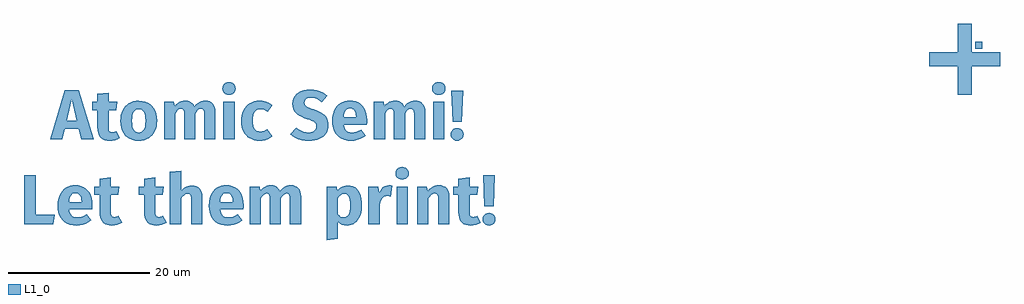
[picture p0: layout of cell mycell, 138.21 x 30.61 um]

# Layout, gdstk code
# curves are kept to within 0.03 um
import gdstk
lib = gdstk.Library(unit=1e-6, precision=1e-09)
def R(c, l, rs):  # rectangles x0, y0, x1, y1
    for r in rs: c.add(gdstk.rectangle(r[:2], r[2:], *l))
def P(c, l, *ps):  # polygons
    for p in ps: c.add(gdstk.Polygon(p, *l))
L1_0 = (1, 0)

mycell = lib.new_cell('mycell')
R(mycell, L1_0, [(19.56,-21.35,21.14,-16.05), (-4.96,-9.35,-3.38,-4.05), (24.74,-9.35,26.32,-4.05), (99,-3,101,7), (95,1,105,3), (101.5,3.5,102.5,4.5)])
P(mycell, L1_0, [(31.799,-14.45),(31.999,-18.85),(33.281,-18.85),(33.481,-14.45)],
  [(31.74,-20.645),(31.769,-20.885),(31.857,-21.099),(32.004,-21.288),(32.193,-21.433),(32.405,-21.521),(32.64,-21.55),(32.88,-21.521),(33.095,-21.433),(33.284,-21.288),(33.431,-21.099),(33.52,-20.885),(33.549,-20.645),(33.52,-20.411),(33.431,-20.201),(33.284,-20.014),(33.095,-19.867),(32.88,-19.779),(32.64,-19.75),(32.405,-19.779),(32.193,-19.867),(32.004,-20.014),(31.857,-20.201),(31.769,-20.411)],
  [(27.56,-17.213),(28.31,-17.213),(28.332,-20.052),(28.504,-20.708),(28.654,-20.965),(28.847,-21.176),(29.083,-21.339),(29.362,-21.456),(30.049,-21.55),(30.815,-21.444),(31.49,-21.145),(30.96,-20.173),(30.768,-20.272),(30.39,-20.35),(30.106,-20.279),(29.943,-20.06),(29.89,-19.658),(29.89,-17.213),(30.94,-17.213),(31.11,-16.05),(29.89,-16.05),(29.89,-14.714),(28.31,-14.895),(28.31,-16.05),(27.56,-16.05)],
  [(27.279,-2.45),(27.479,-6.85),(28.761,-6.85),(28.961,-2.45)],
  [(27.22,-8.645),(27.249,-8.885),(27.337,-9.099),(27.484,-9.288),(27.673,-9.433),(27.885,-9.521),(28.12,-9.55),(28.36,-9.521),(28.575,-9.433),(28.764,-9.288),(28.911,-9.099),(29,-8.885),(29.029,-8.645),(29,-8.411),(28.911,-8.201),(28.764,-8.014),(28.575,-7.867),(28.36,-7.779),(28.12,-7.75),(27.885,-7.779),(27.673,-7.867),(27.484,-8.014),(27.337,-8.201),(27.249,-8.411)],
  [(24.59,-2.15),(24.619,-2.395),(24.706,-2.61),(24.85,-2.795),(25.04,-2.937),(25.264,-3.022),(25.52,-3.05),(25.778,-3.022),(26.003,-2.937),(26.195,-2.795),(26.343,-2.61),(26.431,-2.395),(26.461,-2.15),(26.431,-1.905),(26.343,-1.69),(26.195,-1.505),(26.003,-1.363),(25.778,-1.278),(25.52,-1.25),(25.264,-1.278),(25.04,-1.363),(24.85,-1.505),(24.706,-1.69),(24.619,-1.905)],
  [(22.46,-21.35),(24.04,-21.35),(24.04,-17.708),(24.399,-17.263),(24.77,-17.04),(24.96,-17.013),(25.113,-17.03),(25.335,-17.169),(25.446,-17.485),(25.46,-21.35),(27.04,-21.35),(27.016,-17.096),(26.82,-16.504),(26.649,-16.272),(26.436,-16.087),(26.185,-15.955),(25.896,-15.876),(25.57,-15.85),(24.968,-15.94),(24.436,-16.211),(23.949,-16.663),(23.84,-16.05),(22.46,-16.05)],
  [(19.41,-14.15),(19.439,-14.395),(19.526,-14.61),(19.67,-14.795),(19.86,-14.937),(20.084,-15.022),(20.34,-15.05),(20.598,-15.022),(20.823,-14.937),(21.015,-14.795),(21.163,-14.61),(21.251,-14.395),(21.281,-14.15),(21.251,-13.905),(21.163,-13.69),(21.015,-13.505),(20.823,-13.363),(20.598,-13.278),(20.34,-13.25),(20.084,-13.278),(19.86,-13.363),(19.67,-13.505),(19.526,-13.69),(19.439,-13.905)],
  [(16.34,-9.35),(17.92,-9.35),(17.92,-5.708),(18.295,-5.189),(18.575,-5.032),(18.729,-5.013),(18.891,-5.041),(19.017,-5.127),(19.161,-5.469),(19.179,-9.35),(20.761,-9.35),(20.761,-5.708),(21.129,-5.184),(21.263,-5.089),(21.57,-5.013),(21.732,-5.041),(21.858,-5.127),(22.002,-5.469),(22.02,-9.35),(23.6,-9.35),(23.6,-5.456),(23.505,-4.785),(23.386,-4.51),(23.015,-4.09),(22.778,-3.957),(22.211,-3.85),(21.595,-3.944),(21.325,-4.063),(21.076,-4.228),(20.62,-4.702),(20.495,-4.451),(20.136,-4.073),(19.651,-3.875),(19.062,-3.872),(18.515,-4.048),(18.272,-4.203),(17.829,-4.652),(17.72,-4.05),(16.34,-4.05)],
  [(15.56,-21.35),(17.14,-21.35),(17.14,-18.691),(17.246,-18.281),(17.531,-17.686),(17.833,-17.434),(18.24,-17.35),(18.72,-17.477),(18.97,-15.942),(18.44,-15.85),(18.144,-15.884),(17.869,-15.987),(17.615,-16.158),(17.392,-16.389),(17.21,-16.672),(17.07,-17.009),(16.94,-16.05),(15.56,-16.05)],
  [(10.44,-6.725),(10.551,-7.675),(10.688,-8.087),(10.881,-8.457),(11.129,-8.784),(11.43,-9.06),(11.778,-9.274),(12.174,-9.428),(12.618,-9.519),(13.111,-9.55),(13.558,-9.52),(13.988,-9.432),(14.402,-9.283),(14.799,-9.076),(15.179,-8.809),(14.529,-7.953),(13.879,-8.281),(13.575,-8.361),(12.932,-8.359),(12.655,-8.275),(12.429,-8.134),(12.187,-7.786),(12.109,-7.541),(12.061,-7.25),(12.05,-6.25),(12.15,-5.647),(12.329,-5.248),(12.497,-5.083),(12.708,-4.983),(12.961,-4.95),(13.373,-5.05),(13.652,-5.352),(13.797,-5.853),(13.82,-6.25),(12.05,-6.25),(12.061,-7.25),(15.34,-7.25),(15.344,-6.155),(15.266,-5.695),(15.136,-5.282),(14.954,-4.914),(14.72,-4.594),(14.44,-4.326),(14.12,-4.118),(13.76,-3.969),(13.36,-3.88),(12.92,-3.85),(12.195,-3.945),(11.579,-4.228),(11.087,-4.675),(10.729,-5.258),(10.569,-5.71),(10.472,-6.199)],
  [(9.66,-23.609),(11.24,-23.438),(11.24,-20.991),(11.505,-21.235),(11.808,-21.41),(12.15,-21.515),(12.84,-21.527),(13.13,-21.459),(13.649,-21.184),(13.876,-20.984),(14.244,-20.478),(14.527,-19.721),(14.612,-19.232),(14.64,-18.703),(14.561,-17.726),(14.462,-17.311),(14.145,-16.625),(13.926,-16.36),(13.665,-16.153),(13.362,-16.006),(13.017,-15.917),(12.364,-15.908),(11.835,-16.073),(11.581,-16.219),(11.131,-16.648),(11.645,-17.227),(11.966,-17.07),(12.336,-17.073),(12.663,-17.256),(12.878,-17.634),(12.986,-18.288),(12.999,-18.723),(12.922,-19.538),(12.825,-19.844),(12.689,-20.082),(12.515,-20.252),(12.301,-20.354),(12.049,-20.388),(11.815,-20.359),(11.603,-20.272),(11.24,-19.925),(11.24,-17.711),(11.426,-17.435),(11.645,-17.227),(11.131,-16.648),(11.049,-16.058),(9.66,-16.058)],
  [(4.511,-8.622),(5.218,-9.109),(5.634,-9.297),(6.093,-9.438),(6.595,-9.522),(7.14,-9.55),(7.551,-9.533),(8.285,-9.394),(8.901,-9.121),(9.376,-8.735),(9.704,-8.242),(9.87,-7.666),(9.87,-7),(9.81,-6.684),(9.57,-6.153),(9.105,-5.698),(8.75,-5.479),(6.823,-4.698),(6.6,-4.511),(6.518,-4.343),(6.49,-4.133),(6.518,-3.929),(6.601,-3.761),(6.74,-3.627),(6.927,-3.528),(7.42,-3.45),(8.052,-3.554),(8.652,-3.867),(8.94,-4.102),(9.7,-3.153),(9.375,-2.886),(8.654,-2.502),(7.797,-2.311),(7.3,-2.288),(6.836,-2.315),(6.406,-2.397),(6.009,-2.534),(5.657,-2.723),(5.361,-2.958),(5.12,-3.241),(4.942,-3.562),(4.835,-3.917),(4.8,-4.305),(4.83,-4.681),(4.921,-5.023),(5.072,-5.331),(5.284,-5.605),(5.779,-5.99),(6.487,-6.324),(7.493,-6.678),(7.862,-6.873),(8.079,-7.092),(8.163,-7.29),(8.157,-7.78),(8.059,-7.99),(7.895,-8.161),(7.674,-8.287),(7.09,-8.388),(6.765,-8.369),(6.165,-8.217),(5.885,-8.085),(5.34,-7.705)],
  [(-1.24,-21.35),(0.34,-21.35),(0.34,-17.708),(0.715,-17.189),(0.995,-17.032),(1.149,-17.013),(1.311,-17.041),(1.437,-17.127),(1.581,-17.469),(1.599,-21.35),(3.181,-21.35),(3.181,-17.708),(3.549,-17.184),(3.683,-17.089),(3.99,-17.013),(4.152,-17.041),(4.278,-17.127),(4.422,-17.469),(4.44,-21.35),(6.02,-21.35),(6.02,-17.456),(5.925,-16.785),(5.806,-16.51),(5.435,-16.09),(5.198,-15.957),(4.631,-15.85),(4.015,-15.944),(3.745,-16.063),(3.496,-16.228),(3.04,-16.702),(2.915,-16.451),(2.556,-16.073),(2.071,-15.875),(1.482,-15.872),(0.935,-16.048),(0.692,-16.203),(0.249,-16.652),(0.14,-16.05),(-1.24,-16.05)],
  [(-2.46,-6.764),(-2.38,-7.552),(-2.141,-8.233),(-1.753,-8.788),(-1.23,-9.205),(-0.585,-9.464),(0.17,-9.55),(0.562,-9.524),(1.295,-9.316),(1.961,-8.9),(1.27,-7.894),(0.74,-8.166),(0.507,-8.229),(0.01,-8.228),(-0.38,-8.053),(-0.648,-7.693),(-0.733,-7.425),(-0.783,-7.096),(-0.783,-6.299),(-0.648,-5.668),(-0.53,-5.442),(-0.195,-5.148),(0.27,-5.05),(0.524,-5.076),(1.029,-5.287),(1.279,-5.472),(1.961,-4.516),(1.695,-4.321),(1.129,-4.042),(0.495,-3.905),(-0.238,-3.91),(-0.923,-4.093),(-1.508,-4.454),(-1.964,-4.962),(-2.141,-5.27),(-2.38,-5.97)],
  [(-5.11,-2.15),(-5.081,-2.395),(-4.994,-2.61),(-4.85,-2.795),(-4.66,-2.937),(-4.436,-3.022),(-4.18,-3.05),(-3.922,-3.022),(-3.697,-2.937),(-3.505,-2.795),(-3.357,-2.61),(-3.269,-2.395),(-3.239,-2.15),(-3.269,-1.905),(-3.357,-1.69),(-3.505,-1.505),(-3.697,-1.363),(-3.922,-1.278),(-4.18,-1.25),(-4.436,-1.278),(-4.66,-1.363),(-4.85,-1.505),(-4.994,-1.69),(-5.081,-1.905)],
  [(-7.04,-18.725),(-6.929,-19.675),(-6.792,-20.087),(-6.599,-20.457),(-6.351,-20.784),(-6.05,-21.06),(-5.702,-21.274),(-5.306,-21.428),(-4.862,-21.519),(-4.369,-21.55),(-3.922,-21.52),(-3.492,-21.432),(-3.078,-21.283),(-2.681,-21.076),(-2.301,-20.809),(-2.951,-19.953),(-3.601,-20.281),(-3.905,-20.361),(-4.548,-20.359),(-4.825,-20.275),(-5.051,-20.134),(-5.293,-19.786),(-5.371,-19.541),(-5.419,-19.25),(-5.43,-18.25),(-5.33,-17.647),(-5.151,-17.248),(-4.983,-17.083),(-4.772,-16.983),(-4.519,-16.95),(-4.107,-17.05),(-3.828,-17.352),(-3.683,-17.853),(-3.66,-18.25),(-5.43,-18.25),(-5.419,-19.25),(-2.14,-19.25),(-2.136,-18.155),(-2.214,-17.695),(-2.344,-17.282),(-2.526,-16.914),(-2.76,-16.594),(-3.04,-16.326),(-3.36,-16.118),(-3.72,-15.969),(-4.12,-15.88),(-4.56,-15.85),(-5.285,-15.945),(-5.901,-16.228),(-6.393,-16.675),(-6.751,-17.258),(-6.911,-17.71),(-7.008,-18.199)],
  [(-12.54,-21.398),(-10.96,-21.398),(-10.96,-17.745),(-10.601,-17.3),(-10.417,-17.161),(-10.04,-17.05),(-9.892,-17.067),(-9.671,-17.206),(-9.554,-17.524),(-9.54,-21.398),(-7.96,-21.398),(-7.96,-17.497),(-8.058,-16.818),(-8.18,-16.543),(-8.351,-16.311),(-8.564,-16.126),(-8.815,-15.993),(-9.43,-15.888),(-10.003,-15.968),(-10.26,-16.069),(-10.736,-16.393),(-10.96,-16.619),(-10.96,-13.78),(-12.54,-13.939)],
  [(-13.36,-9.35),(-11.78,-9.35),(-11.78,-5.708),(-11.405,-5.189),(-11.125,-5.032),(-10.971,-5.013),(-10.809,-5.041),(-10.683,-5.127),(-10.539,-5.469),(-10.521,-9.35),(-8.939,-9.35),(-8.939,-5.708),(-8.571,-5.184),(-8.437,-5.089),(-8.13,-5.013),(-7.968,-5.041),(-7.842,-5.127),(-7.698,-5.469),(-7.68,-9.35),(-6.1,-9.35),(-6.1,-5.456),(-6.195,-4.785),(-6.314,-4.51),(-6.685,-4.09),(-6.922,-3.957),(-7.489,-3.85),(-8.105,-3.944),(-8.375,-4.063),(-8.624,-4.228),(-9.08,-4.702),(-9.205,-4.451),(-9.564,-4.073),(-10.049,-3.875),(-10.638,-3.872),(-11.185,-4.048),(-11.428,-4.203),(-11.871,-4.652),(-11.98,-4.05),(-13.36,-4.05)],
  [(-16.94,-17.213),(-16.19,-17.213),(-16.168,-20.052),(-15.996,-20.708),(-15.846,-20.965),(-15.653,-21.176),(-15.417,-21.339),(-15.138,-21.456),(-14.451,-21.55),(-13.685,-21.444),(-13.01,-21.145),(-13.54,-20.173),(-13.732,-20.272),(-14.11,-20.35),(-14.394,-20.279),(-14.557,-20.06),(-14.61,-19.658),(-14.61,-17.213),(-13.56,-17.213),(-13.39,-16.05),(-14.61,-16.05),(-14.61,-14.714),(-16.19,-14.895),(-16.19,-16.05),(-16.94,-16.05)],
  [(-19.56,-6.714),(-19.449,-7.693),(-19.31,-8.11),(-19.116,-8.481),(-18.866,-8.803),(-18.567,-9.072),(-18.227,-9.281),(-17.846,-9.431),(-17.423,-9.52),(-16.96,-9.55),(-16.96,-8.388),(-17.387,-8.288),(-17.552,-8.163),(-17.686,-7.988),(-17.862,-7.468),(-17.921,-6.714),(-17.86,-5.974),(-17.785,-5.687),(-17.545,-5.279),(-17.185,-5.075),(-16.731,-5.075),(-16.534,-5.15),(-16.236,-5.452),(-16.059,-5.97),(-16,-6.723),(-16.06,-7.464),(-16.241,-7.981),(-16.376,-8.159),(-16.54,-8.286),(-16.96,-8.388),(-16.96,-9.55),(-16.214,-9.463),(-15.881,-9.353),(-15.575,-9.2),(-15.057,-8.777),(-14.675,-8.213),(-14.537,-7.88),(-14.379,-7.136),(-14.36,-6.723),(-14.387,-6.21),(-14.47,-5.745),(-14.608,-5.327),(-14.802,-4.957),(-15.05,-4.634),(-15.347,-4.366),(-15.687,-4.156),(-16.068,-4.007),(-16.493,-3.917),(-16.96,-3.887),(-17.706,-3.975),(-18.039,-4.085),(-18.346,-4.239),(-18.863,-4.661),(-19.246,-5.227),(-19.383,-5.558),(-19.481,-5.916)],
  [(-23.24,-17.213),(-22.49,-17.213),(-22.468,-20.052),(-22.296,-20.708),(-22.146,-20.965),(-21.953,-21.176),(-21.717,-21.339),(-21.438,-21.456),(-20.751,-21.55),(-19.985,-21.444),(-19.31,-21.145),(-19.84,-20.173),(-20.032,-20.272),(-20.41,-20.35),(-20.694,-20.279),(-20.857,-20.06),(-20.91,-19.658),(-20.91,-17.213),(-19.86,-17.213),(-19.69,-16.05),(-20.91,-16.05),(-20.91,-14.714),(-22.49,-14.895),(-22.49,-16.05),(-23.24,-16.05)],
  [(-23.56,-5.213),(-22.81,-5.213),(-22.788,-8.052),(-22.616,-8.708),(-22.466,-8.965),(-22.273,-9.176),(-22.037,-9.339),(-21.758,-9.456),(-21.071,-9.55),(-20.305,-9.444),(-19.63,-9.145),(-20.16,-8.173),(-20.352,-8.272),(-20.73,-8.35),(-21.014,-8.279),(-21.177,-8.06),(-21.23,-7.658),(-21.23,-5.213),(-20.18,-5.213),(-20.01,-4.05),(-21.23,-4.05),(-21.23,-2.714),(-22.81,-2.895),(-22.81,-4.05),(-23.56,-4.05)],
  [(-28.44,-18.725),(-28.329,-19.675),(-28.192,-20.087),(-27.999,-20.457),(-27.751,-20.784),(-27.45,-21.06),(-27.102,-21.274),(-26.706,-21.428),(-26.262,-21.519),(-25.769,-21.55),(-25.322,-21.52),(-24.892,-21.432),(-24.478,-21.283),(-24.081,-21.076),(-23.701,-20.809),(-24.351,-19.953),(-25.001,-20.281),(-25.305,-20.361),(-25.948,-20.359),(-26.225,-20.275),(-26.451,-20.134),(-26.693,-19.786),(-26.771,-19.541),(-26.819,-19.25),(-26.83,-18.25),(-26.73,-17.647),(-26.551,-17.248),(-26.383,-17.083),(-26.172,-16.983),(-25.919,-16.95),(-25.507,-17.05),(-25.228,-17.352),(-25.083,-17.853),(-25.06,-18.25),(-26.83,-18.25),(-26.819,-19.25),(-23.54,-19.25),(-23.536,-18.155),(-23.614,-17.695),(-23.744,-17.282),(-23.926,-16.914),(-24.16,-16.594),(-24.44,-16.326),(-24.76,-16.118),(-25.12,-15.969),(-25.52,-15.88),(-25.96,-15.85),(-26.685,-15.945),(-27.301,-16.228),(-27.793,-16.675),(-28.151,-17.258),(-28.311,-17.71),(-28.408,-18.199)],
  [(-29.51,-9.348),(-27.81,-9.348),(-26.45,-3.616),(-25.721,-6.688),(-27.18,-6.688),(-27.46,-7.85),(-25.43,-7.85),(-25.08,-9.348),(-23.339,-9.348),(-25.43,-2.4),(-27.421,-2.4)],
  [(-33.21,-21.35),(-29.04,-21.35),(-28.869,-20.05),(-31.569,-20.05),(-31.569,-14.4),(-33.21,-14.4)])

lib.write_gds('mycell.gds')
